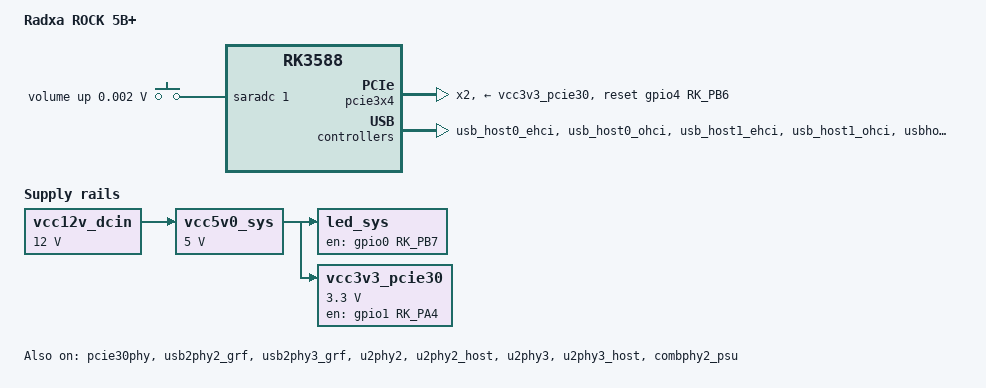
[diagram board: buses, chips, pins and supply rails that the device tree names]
// SPDX-License-Identifier: (GPL-2.0+ OR MIT)
/*
 * Copyright (c) 2021 Rockchip Electronics Co., Ltd
 *
 */

/dts-v1/;
#include "rk3588.dtsi"
#include "rk3588-u-boot.dtsi"
#include <dt-bindings/input/input.h>
#include <dt-bindings/phy/phy-snps-pcie3.h>

/ {
	model = "Radxa ROCK 5B+";
	compatible = "radxa,rock-5b-plus", "rockchip,rk3588";

	vcc12v_dcin: vcc12v-dcin {
		u-boot,dm-pre-reloc;
		compatible = "regulator-fixed";
		regulator-name = "vcc12v_dcin";
		regulator-always-on;
		regulator-boot-on;
		regulator-min-microvolt = <12000000>;
		regulator-max-microvolt = <12000000>;
	};

	vcc5v0_sys: vcc5v0-sys {
		u-boot,dm-pre-reloc;
		compatible = "regulator-fixed";
		regulator-name = "vcc5v0_sys";
		regulator-always-on;
		regulator-boot-on;
		regulator-min-microvolt = <5000000>;
		regulator-max-microvolt = <5000000>;
		vin-supply = <&vcc12v_dcin>;
	};

	led_sys: led-sys {
		u-boot,dm-pre-reloc;
		compatible = "regulator-fixed";
		regulator-name = "led_sys";
		enable-active-high;
		gpio = <&gpio0 RK_PB7 GPIO_ACTIVE_HIGH>; // Turn on user led
		regulator-boot-on;
		regulator-always-on;
		vin-supply = <&vcc5v0_sys>;
	};

	adc-keys {
		compatible = "adc-keys";
		io-channels = <&saradc 1>;
		io-channel-names = "buttons";
		keyup-threshold-microvolt = <1800000>;
		u-boot,dm-pre-reloc;
		status = "okay";

		volumeup-key {
			u-boot,dm-pre-reloc;
			linux,code = <KEY_VOLUMEUP>;
			label = "volume up";
			press-threshold-microvolt = <1750>;
		};
	};

	vcc3v3_pcie30: vcc3v3-pcie30 {
		u-boot,dm-pre-reloc;
		compatible = "regulator-fixed";
		regulator-name = "vcc3v3_pcie30";
		regulator-min-microvolt = <3300000>;
		regulator-max-microvolt = <3300000>;
		enable-active-high;
		gpio = <&gpio1 RK_PA4 GPIO_ACTIVE_HIGH>;
		regulator-boot-on;
		regulator-always-on;
		vin-supply = <&vcc5v0_sys>;
	};
};

&pcie3x4 {
	u-boot,dm-pre-reloc;
	reset-gpios = <&gpio4 RK_PB6 GPIO_ACTIVE_HIGH>;
	num-lanes = <2>;
	vpcie3v3-supply = <&vcc3v3_pcie30>;
	status = "okay";
};

&pcie3x2 {
	u-boot,dm-pre-reloc;
	reset-gpios = <&gpio4 RK_PB0 GPIO_ACTIVE_HIGH>;
	vpcie3v3-supply = <&vcc3v3_pcie30>;
	status = "disabled";
};

&pcie30phy {
	u-boot,dm-pre-reloc;
	rockchip,pcie30-phymode = <PHY_MODE_PCIE_NANBNB>;
	status = "okay";
};


/*******************
* grf models
********************/
&usb2phy2_grf {
	u-boot,dm-pre-reloc;
	status = "okay";
};

&usb2phy3_grf {
	u-boot,dm-pre-reloc;
	status = "okay";
};

/*******************
* phy
********************/
&u2phy2 {
	u-boot,dm-pre-reloc;
	status = "okay";
};

&u2phy2_host {
	u-boot,dm-pre-reloc;
	phy-supply = <&vcc5v0_host>;
	status = "okay";
};

&u2phy3 {
	u-boot,dm-pre-reloc;
	status = "okay";
};

&u2phy3_host {
	u-boot,dm-pre-reloc;
	phy-supply = <&vcc5v0_host>;
	status = "okay";
};

&combphy2_psu {
	u-boot,dm-pre-reloc;
	status = "okay";
};

/*******************
* controlers
********************/
&usb_host0_ehci {
	u-boot,dm-pre-reloc;
	status = "okay";
};

&usb_host0_ohci {
	u-boot,dm-pre-reloc;
	status = "okay";
};

&usb_host1_ehci {
	u-boot,dm-pre-reloc;
	status = "okay";
};

&usb_host1_ohci {
	u-boot,dm-pre-reloc;
	status = "okay";
};

&usbhost3_0 {
	u-boot,dm-pre-reloc;
	status = "okay";
};

&usbhost_dwc3_0 {
	u-boot,dm-pre-reloc;
	status = "okay";
};

&pinctrl {
	usb {
		u-boot,dm-pre-reloc;
		vcc5v0_host_en: vcc5v0_host_en {
			u-boot,dm-pre-reloc;
			rockchip,pins = <1 RK_PA1 RK_FUNC_GPIO &pcfg_pull_none>;
		};
	};
};
